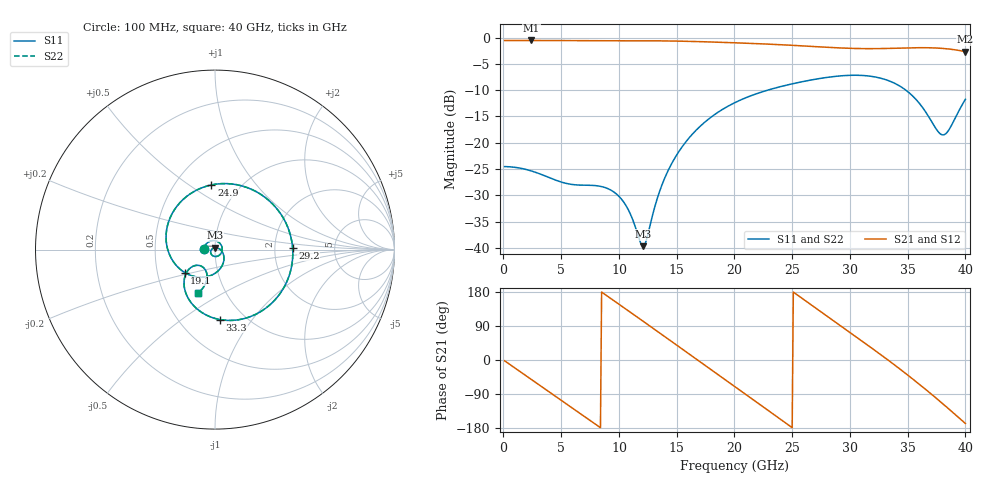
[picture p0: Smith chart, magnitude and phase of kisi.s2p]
! C_s8_mixed: L1→L8, antipad Ø1.2 on L2/L7, Ø0.8 on L4/L5
! stackup: 8-layer 1.6 mm FR-4 (generic)
! ports: 1, 2
! kisi-fdtd, conformal, dfine 0.035 mm, 663585 cells
# Hz S RI R 50
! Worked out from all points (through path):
!   400 points, 100 MHz to 40 GHz, reference 50 ohm
!   highest |S21| = -0.55 dB at 2.4 GHz (marker M1); lowest = -2.7 dB at 40 GHz (marker M2)
!   group delay of S21, straight-line fit = 60.8 ps
!   lowest |S11| = -39.7 dB at 12.1 GHz (marker M3), VSWR 1.02, Z = 49.9 + j1.03 ohm
!   |S11| at or under -10 dB: start of sweep to 22.88 GHz; 34.84 GHz to end of sweep
!   |S22| runs from -39.7 to -7.2 dB; largest |S21 - S12| = 2.2e-07
!   S11 on the Smith chart (normalised r, x): 100 MHz: 0.89, +0.00; 19.1 GHz: 0.69, -0.18; 24.9 GHz: 0.74, +0.62; 29.2 GHz: 2.52, +0.07; 33.3 GHz: 0.77, -0.71; 40 GHz: 0.74, -0.39
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1e8  -0.0593 0.00258  0.9371 -0.0347  0.9371 -0.0347  -0.0593 0.00258
2.4e9  -0.025 0.0479  0.5904 -0.7291  0.5904 -0.7291  -0.025 0.0479
4.6e9  0.0294 0.0325  -0.1281 -0.9278  -0.1281 -0.9278  0.0294 0.0325
6.8e9  0.033 -0.0219  -0.7611 -0.5401  -0.7611 -0.5401  0.033 -0.0219
9.3e9  -0.0158 -0.0318  -0.8873 0.2852  -0.8873 0.2852  -0.0158 -0.0318
1.21e10  -0.00137 0.0103  -0.1959 0.9113  -0.1959 0.9113  -0.00137 0.0103
1.34e10  0.0315 -0.00142  0.256 0.8944  0.256 0.8944  0.0315 -0.00142
1.63e10  0.019 -0.1172  0.9014 0.1762  0.9014 0.1762  0.019 -0.1172
1.76e10  -0.0558 -0.1526  0.8694 -0.2691  0.8694 -0.2691  -0.0558 -0.1526
1.91e10  -0.1688 -0.1278  0.5801 -0.6867  0.5801 -0.6867  -0.1688 -0.1278
2.01e10  -0.2335 -0.065  0.2817 -0.8452  0.2817 -0.8452  -0.2335 -0.065
2.22e10  -0.2611 0.1471  -0.4007 -0.7752  -0.4007 -0.7752  -0.2611 0.1471
2.49e10  -0.0195 0.3604  -0.8432 -0.0536  -0.8432 -0.0536  -0.0195 0.3604
2.67e10  0.2284 0.3236  -0.6689 0.4804  -0.6689 0.4804  0.2284 0.3236
2.92e10  0.4321 0.0107  8.55e-05 0.796  8.55e-05 0.796  0.4321 0.0107
3.1e10  0.3481 -0.2636  0.495 0.6093  0.495 0.6093  0.3481 -0.2636
3.33e10  0.0279 -0.3898  0.7879 -0.00144  0.7879 -0.00144  0.0279 -0.3898
3.34e10  0.0136 -0.3869  0.7877 -0.0327  0.7877 -0.0327  0.0136 -0.3869
3.5e10  -0.1517 -0.2666  0.6144 -0.508  0.6144 -0.508  -0.1517 -0.2666
3.69e10  -0.1373 -0.1022  0.0531 -0.7976  0.0531 -0.7976  -0.1373 -0.1022
3.82e10  -0.062 -0.1026  -0.388 -0.6829  -0.388 -0.6829  -0.062 -0.1026
4e10  -0.0932 -0.2414  -0.7157 -0.1588  -0.7157 -0.1588  -0.0932 -0.2414
